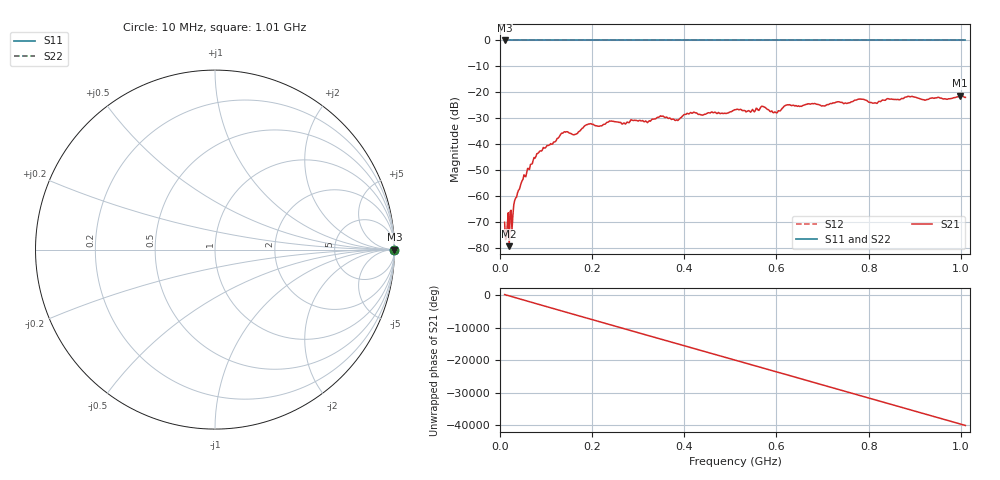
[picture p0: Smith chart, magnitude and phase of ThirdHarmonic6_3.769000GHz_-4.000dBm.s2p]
! 8/17/2025 12:57:59 PM
! C:\ANRITSUVNA\TEMP\TEMP.S2P
! CHANNEL.1
! TR.MEASUREMENT
! RAW.DATA
! RF.CORRECTION.OFF
! AVERAGING.OFF
! IF.BANDWIDTH: 5KHZ
! SWEEPTYPE:  FREQ.SWEEP(Linear)
! Reference Plane Port Info
! PORT:  PORT1  PORT2
! DISTANCE:  0  m  0  m
! TIME:  0  s  0  s
! PHASE.OFFSET:  0  deg.  0  deg.
! LOSS:  0  dB  0  dB
! REF.LOSS:  0  dB  0  dB
! REF.FREQ:  0  Hz  0  Hz
! Power Info
! POWER:  -20  dBm  -20  dBm
! EFF.POWER:  -20  dBm  -20  dBm
! SOURCE.ATTEN:  0  dB  0  dB
! TEST.ATTEN:  0  dB  0  dB
# GHZ S RI R 50.0
! FREQ.GHZ  S11RE  S11IM  S21RE  S21IM  S12RE  S12IM  S22RE  S22IM
!; PortSelection: Port_12
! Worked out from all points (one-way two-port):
!   501 points, 10 MHz to 1.01 GHz, reference 50 ohm
!   highest |S21| = -21.25 dB at 998 MHz (marker M1); lowest = -79.1 dB at 20 MHz (marker M2)
!   lowest |S11| = 0.0 dB at 10 MHz (marker M3)
!   |S11| at or under -10 dB: nowhere
!   |S22| runs from 0.0 to 0.0 dB; largest |S21 - S12| = 1.1
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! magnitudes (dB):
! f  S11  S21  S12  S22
! 10 MHz  0.0  -69.9  0.0  0.0
! 14 MHz  0.0  -75.7  0.0  0.0
! 16 MHz  0.0  -70.6  0.0  0.0
! 20 MHz  0.0  -79.1  0.0  0.0
! 24 MHz  0.0  -65.3  0.0  0.0
! 34 MHz  0.0  -60.6  0.0  0.0
! 48 MHz  0.0  -54.0  0.0  0.0
! 82 MHz  0.0  -43.4  0.0  0.0
! 136 MHz  0.0  -35.7  0.0  0.0
! 162 MHz  0.0  -36.2  0.0  0.0
! 178 MHz  0.0  -33.8  0.0  0.0
! 344 MHz  0.0  -29.6  0.0  0.0
! 384 MHz  0.0  -30.5  0.0  0.0
! 418 MHz  0.0  -27.9  0.0  0.0
! 510 MHz  0.0  -26.6  0.0  0.0
! 570 MHz  0.0  -25.4  0.0  0.0
! 598 MHz  0.0  -27.6  0.0  0.0
! 624 MHz  0.0  -24.7  0.0  0.0
! 678 MHz  0.0  -24.3  0.0  0.0
! 844 MHz  0.0  -22.5  0.0  0.0
! 998 MHz  0.0  -21.2  0.0  0.0
! 1.01 GHz  0.0  -21.9  0.0  0.0
